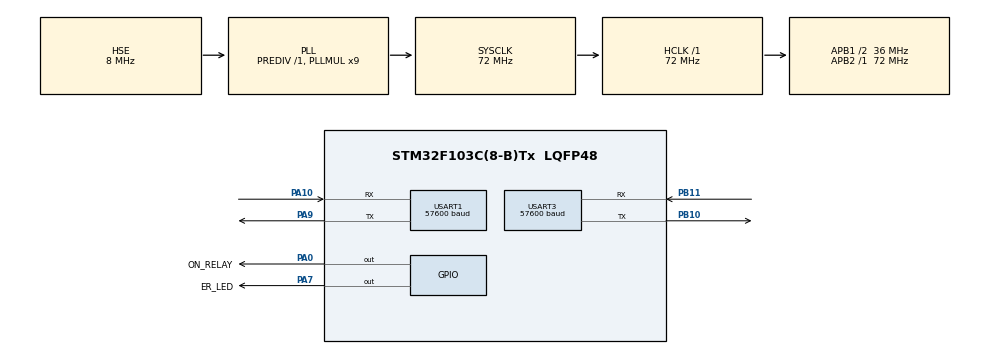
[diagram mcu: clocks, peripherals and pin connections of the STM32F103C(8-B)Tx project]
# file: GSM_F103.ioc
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Mcu.Family=STM32F1
Mcu.Name=STM32F103C(8-B)Tx
Mcu.Package=LQFP48
NVIC.PriorityGroup=NVIC_PRIORITYGROUP_4
NVIC.TIM4_IRQn=true\:7\:0\:true\:false\:true\:true\:true
NVIC.USART1_IRQn=true\:5\:0\:true\:false\:true\:true\:true
NVIC.USART3_IRQn=true\:6\:0\:true\:false\:true\:true\:true
PA0-WKUP.GPIO_Label=ON_RELAY
PA0-WKUP.Signal=GPIO_Output
PA10.Mode=Asynchronous
PA10.Signal=USART1_RX
PA13.Mode=Serial_Wire
PA13.Signal=SYS_JTMS-SWDIO
PA14.Mode=Serial_Wire
PA14.Signal=SYS_JTCK-SWCLK
PA7.GPIO_Label=ER_LED
PA7.Signal=GPIO_Output
PA9.Mode=Asynchronous
PA9.Signal=USART1_TX
PB10.Mode=Asynchronous
PB10.Signal=USART3_TX
PB11.Mode=Asynchronous
PB11.Signal=USART3_RX
PD0-OSC_IN.Mode=HSE-External-Oscillator
PD0-OSC_IN.Signal=RCC_OSC_IN
PD1-OSC_OUT.Mode=HSE-External-Oscillator
PD1-OSC_OUT.Signal=RCC_OSC_OUT
ProjectManager.HeapSize=0x200
ProjectManager.StackSize=0x400
ProjectManager.TargetToolchain=STM32CubeIDE
RCC.AHBFreq_Value=72000000
RCC.APB1CLKDivider=RCC_HCLK_DIV2
RCC.APB1Freq_Value=36000000
RCC.APB1TimFreq_Value=72000000
RCC.APB2Freq_Value=72000000
RCC.APB2TimFreq_Value=72000000
RCC.HCLKFreq_Value=72000000
RCC.PLLMUL=RCC_PLL_MUL9
RCC.PLLSourceVirtual=RCC_PLLSOURCE_HSE
RCC.SYSCLKFreq_VALUE=72000000
RCC.SYSCLKSource=RCC_SYSCLKSOURCE_PLLCLK
RCC.USBFreq_Value=72000000
TIM4.Period=9999
TIM4.Prescaler=7199
USART1.BaudRate=57600
USART1.VirtualMode=VM_ASYNC
USART3.BaudRate=57600
USART3.VirtualMode=VM_ASYNC
VP_TIM4_VS_ClockSourceINT.Mode=Internal
board=custom

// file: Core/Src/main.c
/* USER CODE BEGIN Header */
/**
  ******************************************************************************
  * @file           : main.c
  * @brief          : Main program body
  ******************************************************************************
  * @attention
  *
  * <h2><center>&copy; Copyright (c) 2022 STMicroelectronics.
  * All rights reserved.</center></h2>
  *
  * This software component is licensed by ST under BSD 3-Clause license,
  * the "License"; You may not use this file except in compliance with the
  * License. You may obtain a copy of the License at:
  *                        opensource.org/licenses/BSD-3-Clause
  *
  ******************************************************************************
  */
/* USER CODE END Header */

#include "main.h"

/* USER CODE BEGIN Includes */
#include "usart_ring.h"
#include "gsm.h"
#include <stdio.h>
/* USER CODE END Includes */

TIM_HandleTypeDef htim4;

UART_HandleTypeDef huart1;
UART_HandleTypeDef huart3;

/* USER CODE BEGIN PV */
volatile uint8_t flag = 0;
/* USER CODE END PV */

void SystemClock_Config(void);
static void MX_GPIO_Init(void);
static void MX_USART1_UART_Init(void);
static void MX_TIM4_Init(void);
static void MX_USART3_UART_Init(void);
/* USER CODE BEGIN PFP */
int _write(int file, char *ptr, int len) {
	int i;
	HAL_UART_Transmit(&huart3, (uint8_t*) ptr, len, 50);
	for (i = 0; i < len; i++) {
		ITM_SendChar(*ptr++);
	}
	return len;
}
/* USER CODE END PFP */

/* USER CODE BEGIN 0 */
/////////////////// удалить символы \r и \n из строки //////////////////////
static void clear_string(char *src)
{
	char *dst = NULL;
	if(!src) return;
	uint8_t i = 0;

	for(dst = src; *src; src++)
	{
		if(i < 2 && (*src == '\n' || *src == '\r'))
		{
			i++;
			continue;
		}
		else if(*src == '\n' || *src == '\r') *src = ' ';

		*dst++ = *src;
	}

	*dst = 0;
}

///////////////////// колбек таймера //////////////////////
void HAL_TIM_PeriodElapsedCallback(TIM_HandleTypeDef *htim)
{
	if(htim->Instance == TIM4)
	{
		flag = 1;
	}
}

//////////////// проверка и установка скорости 19200, нужна один раз /////////////////
void chek_speed(void)
{
  for(uint8_t i = 0; i < 7; i++)
  {
	  uint32_t sp = 0;

	  if(i == 0) sp = 2400;
	  else if(i == 1) sp = 4800;
	  else if(i == 2) sp = 9600;
	  else if(i == 3) sp = 19200;
	  else if(i == 4) sp = 38400;
	  else if(i == 5) sp = 57600;
	  else if(i == 6) sp = 115200;

	  huart1.Instance = USART1;
	  huart1.Init.BaudRate = sp;
	  huart1.Init.WordLength = UART_WORDLENGTH_8B;
	  huart1.Init.StopBits = UART_STOPBITS_1;
	  huart1.Init.Parity = UART_PARITY_NONE;
	  huart1.Init.Mode = UART_MODE_TX_RX;
	  huart1.Init.HwFlowCtl = UART_HWCONTROL_NONE;
	  huart1.Init.OverSampling = UART_OVERSAMPLING_16;

	  if (HAL_UART_Init(&huart1) != HAL_OK)
	  {
		  Error_Handler();
	  }

	  char str[16] = {0,};
	  HAL_UART_Transmit(GSM, (uint8_t*)"AT\r\n", strlen("AT\r\n"), 1000);
	  HAL_Delay(300);

	  if(gsm_available()) //если модуль что-то прислал
	  {
		  uint16_t i = 0;

		  while(gsm_available())
		  {
			  str[i++] = gsm_read();
			  if(i > 15) break;
			  HAL_Delay(1);
		  }

		  if(strstr(str, "OK") != NULL)
		  {
			  char buf[64] = {0,};
			  snprintf(buf, 64, "Uart modem was %lu, switched to 57600\n", huart1.Init.BaudRate);
			  HAL_UART_Transmit(DEBUG, (uint8_t*)buf, strlen(buf), 100);
			  HAL_UART_Transmit(GSM, (uint8_t*)"AT+IPR=57600\r\n", strlen("AT+IPR=57600\r\n"), 1000);
			  HAL_Delay(250);
			  MX_USART1_UART_Init();
			  break;
		  }
	  }
  }
}
/* USER CODE END 0 */

int main(void)
{

  /* MCU Configuration--------------------------------------------------------*/

  /* Reset of all peripherals, Initializes the Flash interface and the Systick. */
  HAL_Init();

  /* Configure the system clock */
  SystemClock_Config();

  /* Initialize all configured peripherals */
  MX_GPIO_Init();
  MX_USART1_UART_Init();
  MX_TIM4_Init();
  MX_USART3_UART_Init();
  /* USER CODE BEGIN 2 */
  //HAL_Delay(1000);
    //HAL_GPIO_WritePin(ON_RELAY_GPIO_Port, ON_RELAY_Pin, GPIO_PIN_SET);
    HAL_Delay(5000); // задержка чтоб модем успел раздуплиться, если его включение происходит вместе с включением МК

    __HAL_UART_ENABLE_IT(GSM, UART_IT_RXNE);
    __HAL_UART_ENABLE_IT(DEBUG, UART_IT_RXNE);

    chek_speed(); // проверка и установка скорости 19200, нужна один раз

    ////////////////// настройка модема ///////////////////
    set_comand(ATCPAS);  // проверка статуса модема
    set_comand(ATCREG);  // проверка регистрации в сети - должен вернуть  +CREG: 0,1
    set_comand(ATCLIP1); // включить АОН
    set_comand(ATE);     // отключить «эхо»
    set_comand(ATS);     // поднимать трубку только "вручную"
    set_comand(ATDDET);  // включить DTMF
    //set_comand(ATCCLKK); // установить дату/время

    /////////////////// настройки для работы с sms ////////////////
    set_comand(ATCMGF);    // устанавливает текстовый режим смс-сообщения
    set_comand(ATCPBS);    // открывает доступ к данным телефонной книги SIM-карты
    set_comand(ATCSCS);    // кодировка текста - GSM
    set_comand(ATCNMI);    // настройка вывода смс в консоль

    //////////////////// различная инфа /////////////////////
    set_comand(ATIPR);       // скорость usart'a модема
    set_comand(ATI);         // название и версия модуля
    set_comand(ATCGSN);      // считывание IMEI из EEPROM
    set_comand(ATCSPN);      // оператор сети

    HAL_TIM_Base_Start_IT(&htim4);

    char buf[GSM_RX_BUFFER_SIZE] = {0,};
    char str[GSM_RX_BUFFER_SIZE] = {0,};
  /* USER CODE END 2 */

  /* Infinite loop */
  /* USER CODE BEGIN WHILE */

  while (1)
  {
  	if(flag == 1)
  	{
  		flag = 0;
  		//get_date_time(); // будет раз в секунду выводить время
  	}

  	if(gsm_available()) //если модуль что-то прислал
  	{
  		uint16_t i = 0;
  		uint8_t fdbg = 1;
  		memset(buf, 0, GSM_RX_BUFFER_SIZE);
  		HAL_Delay(50);

  		while(gsm_available())
  		{
  			buf[i++] = gsm_read();
  			if(i > GSM_RX_BUFFER_SIZE - 1) break;
  			HAL_Delay(1);
  		}

  		clear_string(buf); // очищаем строку от символов \r и \n

  		/////////////////// НАЧИНАЕМ РАСПОЗНАВАТЬ ЧТО ПРИСЛАЛ МОДУЛЬ /////////////////////
  		if(strstr(buf, "RING") != NULL) // ЕСЛИ ЭТО ЗВОНОК
  		{
  			//if(strstr(buf, "9834567891") != NULL) // если звонит нужный номер
  			if(strstr(buf, "358XXXXXXXXX") != NULL) // если звонит нужный номер
  			{
  				// что-то делаем
  				HAL_UART_Transmit(DEBUG, (uint8_t*)"My number\n", strlen("My number\n"), 1000);
  				incoming_call(); // можно принять звонок
  				//disable_connection(); // сброс соединения
  			}
  			else
  			{
  				HAL_UART_Transmit(DEBUG, (uint8_t*)"Unknow number\n", strlen("Unknow number\n"), 1000);
  				disable_connection(); // сброс соединения
  			}
  		}
  		else if(strstr(buf, "+CMT:") != NULL) // ЕСЛИ ЭТО SMS
  		{
  			//if(strstr(buf, "9815555596") != NULL) // проверяем от кого смс
  			if(strstr(buf, "358XXXXXXXXX") != NULL) // проверяем от кого смс
  			{
  				HAL_UART_Transmit(DEBUG, (uint8_t*)"Sms my number\n", strlen("Sms my number\n"), 1000);

  				// что-то делаем или ищем какую-то строку, которую мы послали в смс, например слово "Hello"
  				if(strstr(buf, "Zerg") != NULL)
  				{
  					HAL_UART_Transmit(DEBUG, (uint8_t*)"Reciv Zerg\n", strlen("Reciv Zerg\n"), 1000);
  					// что-то делаем
  				}
  				else if(strstr(buf, "Call") != NULL) // если прилетело слово "Call" то звоним
  				{
  					call(); // номер указать в файле gsm.c
  				}
  				else if(strstr(buf, "Money") != NULL) // если отпрвить sms со словом "Money", то в ответ придёт смс с балансом (деньги) на модеме
  				{
  					balance(); // посылаем команду узнать баланс (мтс)
  				}
  			}
  			else
  			{
  				HAL_UART_Transmit(DEBUG, (uint8_t*)"Unknow number sms\n", strlen("Unknow number sms\n"), 1000);
  			}
  		}
  		else if(strstr(buf, "+CUSD") != NULL)  // ЕСЛИ ЭТО СТРОКА С БАЛАНСОМ
  		{
  			char *p = NULL;

  			if((p = strstr(buf, "Balance")) != NULL) // ищем слово "Balance"
  			{
  				// отправляем смс с балансом на указанный телефон, укажите нужный номер и раскомментируйте этот блок
  				/*snprintf(str, GSM_RX_BUFFER_SIZE, "AT+CMGS=\"+79839655557\"\r\n"); // номер
  				HAL_UART_Transmit(GSM, (uint8_t*)str, strlen(str), 1000);
  				HAL_Delay(100);
  				snprintf(str, GSM_RX_BUFFER_SIZE, "%s", p); // текст смс
  				HAL_UART_Transmit(GSM, (uint8_t*)str, strlen(str), 1000);
  				p = 0;
  				HAL_Delay(100);
  				snprintf(str, GSM_RX_BUFFER_SIZE, "%c", (char)26); // символ ctrl-z
  				HAL_UART_Transmit(GSM, (uint8_t*)str, strlen(str), 1000);*/
  				// блок закомментирован чтоб модуль не слал смски пока тестируете
  			}
  		}
  		else if(strstr(buf, "+DTMF") != NULL)  //ЕСЛИ ЭТО DTMF СИГНАЛ
  		{
  			if(strstr(buf, "0") != NULL) // если пришёл сигнал кнопки 0
  			{
  				// что-то делаем
  				HAL_UART_Transmit(DEBUG, (uint8_t*)"DTMF Button 0\n", strlen("DTMF Button 0\n"), 1000);
  			}
  			else if(strstr(buf, "1") != NULL) // если пришёл сигнал кнопки 1
  			{
  				// что-то делаем
  				HAL_UART_Transmit(DEBUG, (uint8_t*)"DTMF Button 1\n", strlen("DTMF Button 1\n"), 1000);
  			}
  			// и т.д.

  			disable_connection(); // разрываем соединение, или не разрываем (в зависимости от того, что вам нужно)
  		}
  		else if(strstr(buf, "+CCLK") != NULL)  // ЕСЛИ ЭТО ДАТА/ВРЕМЯ
  		{
  			replac_string(buf);
  			char res[32] = {0,};

  			for(uint8_t i = 0; i < GSM_RX_BUFFER_SIZE; i++)
  			{
  				if(buf[i] == '"')
  				{
  					i++;
  					for(uint8_t j = 0; j < 20; i++, j++)
  					{
  						if(buf[i] == '+')
  						{
  							buf[i] = 0;
  							break;
  						}

  						if(buf[i] == ',') buf[i] = ' ';
  						res[j] = buf[i];
  					}

  					break;
  				}
  			}

  			snprintf(str, GSM_RX_BUFFER_SIZE, "DateTime %s\n", res);
  			HAL_UART_Transmit(DEBUG, (uint8_t*)str, strlen(str), 1000);
  			fdbg = 0;
  		}

  		if(fdbg)
  		{
  			snprintf(str, GSM_RX_BUFFER_SIZE, "%s\n", buf);
  			HAL_UART_Transmit(DEBUG, (uint8_t*)str, strlen(str), 1000);
  		}
  	}

  	////////////////////////////////////// DEBUG ////////////////////////////////////////
  	if(dbg_available()) //если послали в терминал какую-то команду, то она перенаправиться в модем
  	{
  		uint16_t i = 0;
  		memset(buf, 0, GSM_RX_BUFFER_SIZE);

  		while(dbg_available())
  		{
  			buf[i++] = dbg_read();
  			if(i > GSM_RX_BUFFER_SIZE - 1) break;
  			HAL_Delay(1);
  		}

  		clear_string(buf);
  		snprintf(str, GSM_RX_BUFFER_SIZE, "%s\r\n", buf);
  		HAL_UART_Transmit(GSM, (uint8_t*)str, strlen(str), 1000);
  	}

    /* USER CODE END WHILE */

  }
}

void SystemClock_Config(void)
{
  RCC_OscInitTypeDef RCC_OscInitStruct = {0};
  RCC_ClkInitTypeDef RCC_ClkInitStruct = {0};

  /** Initializes the CPU, AHB and APB busses clocks
  */
  RCC_OscInitStruct.OscillatorType = RCC_OSCILLATORTYPE_HSE;
  RCC_OscInitStruct.HSEState = RCC_HSE_ON;
  RCC_OscInitStruct.HSEPredivValue = RCC_HSE_PREDIV_DIV1;
  RCC_OscInitStruct.HSIState = RCC_HSI_ON;
  RCC_OscInitStruct.PLL.PLLState = RCC_PLL_ON;
  RCC_OscInitStruct.PLL.PLLSource = RCC_PLLSOURCE_HSE;
  RCC_OscInitStruct.PLL.PLLMUL = RCC_PLL_MUL9;
  if (HAL_RCC_OscConfig(&RCC_OscInitStruct) != HAL_OK)
  {
    Error_Handler();
  }
  /** Initializes the CPU, AHB and APB busses clocks
  */
  RCC_ClkInitStruct.ClockType = RCC_CLOCKTYPE_HCLK|RCC_CLOCKTYPE_SYSCLK
                              |RCC_CLOCKTYPE_PCLK1|RCC_CLOCKTYPE_PCLK2;
  RCC_ClkInitStruct.SYSCLKSource = RCC_SYSCLKSOURCE_PLLCLK;
  RCC_ClkInitStruct.AHBCLKDivider = RCC_SYSCLK_DIV1;
  RCC_ClkInitStruct.APB1CLKDivider = RCC_HCLK_DIV2;
  RCC_ClkInitStruct.APB2CLKDivider = RCC_HCLK_DIV1;

  if (HAL_RCC_ClockConfig(&RCC_ClkInitStruct, FLASH_LATENCY_2) != HAL_OK)
  {
    Error_Handler();
  }
}

static void MX_TIM4_Init(void)
{

  TIM_ClockConfigTypeDef sClockSourceConfig = {0};
  TIM_MasterConfigTypeDef sMasterConfig = {0};

  htim4.Instance = TIM4;
  htim4.Init.Prescaler = 7199;
  htim4.Init.CounterMode = TIM_COUNTERMODE_UP;
  htim4.Init.Period = 9999;
  htim4.Init.ClockDivision = TIM_CLOCKDIVISION_DIV1;
  htim4.Init.AutoReloadPreload = TIM_AUTORELOAD_PRELOAD_DISABLE;
  if (HAL_TIM_Base_Init(&htim4) != HAL_OK)
  {
    Error_Handler();
  }
  sClockSourceConfig.ClockSource = TIM_CLOCKSOURCE_INTERNAL;
  if (HAL_TIM_ConfigClockSource(&htim4, &sClockSourceConfig) != HAL_OK)
  {
    Error_Handler();
  }
  sMasterConfig.MasterOutputTrigger = TIM_TRGO_RESET;
  sMasterConfig.MasterSlaveMode = TIM_MASTERSLAVEMODE_DISABLE;
  if (HAL_TIMEx_MasterConfigSynchronization(&htim4, &sMasterConfig) != HAL_OK)
  {
    Error_Handler();
  }

}

static void MX_USART1_UART_Init(void)
{

  huart1.Instance = USART1;
  huart1.Init.BaudRate = 57600;
  huart1.Init.WordLength = UART_WORDLENGTH_8B;
  huart1.Init.StopBits = UART_STOPBITS_1;
  huart1.Init.Parity = UART_PARITY_NONE;
  huart1.Init.Mode = UART_MODE_TX_RX;
  huart1.Init.HwFlowCtl = UART_HWCONTROL_NONE;
  huart1.Init.OverSampling = UART_OVERSAMPLING_16;
  if (HAL_UART_Init(&huart1) != HAL_OK)
  {
    Error_Handler();
  }

}

static void MX_USART3_UART_Init(void)
{

  huart3.Instance = USART3;
  huart3.Init.BaudRate = 57600;
  huart3.Init.WordLength = UART_WORDLENGTH_8B;
  huart3.Init.StopBits = UART_STOPBITS_1;
  huart3.Init.Parity = UART_PARITY_NONE;
  huart3.Init.Mode = UART_MODE_TX_RX;
  huart3.Init.HwFlowCtl = UART_HWCONTROL_NONE;
  huart3.Init.OverSampling = UART_OVERSAMPLING_16;
  if (HAL_UART_Init(&huart3) != HAL_OK)
  {
    Error_Handler();
  }

}

static void MX_GPIO_Init(void)
{
  GPIO_InitTypeDef GPIO_InitStruct = {0};

  /* GPIO Ports Clock Enable */
  __HAL_RCC_GPIOD_CLK_ENABLE();
  __HAL_RCC_GPIOA_CLK_ENABLE();
  __HAL_RCC_GPIOB_CLK_ENABLE();

  /*Configure GPIO pin Output Level */
  HAL_GPIO_WritePin(GPIOA, ON_RELAY_Pin|ER_LED_Pin, GPIO_PIN_RESET);

  /*Configure GPIO pins : ON_RELAY_Pin ER_LED_Pin */
  GPIO_InitStruct.Pin = ON_RELAY_Pin|ER_LED_Pin;
  GPIO_InitStruct.Mode = GPIO_MODE_OUTPUT_PP;
  GPIO_InitStruct.Pull = GPIO_NOPULL;
  GPIO_InitStruct.Speed = GPIO_SPEED_FREQ_LOW;
  HAL_GPIO_Init(GPIOA, &GPIO_InitStruct);

}

void Error_Handler(void)
{
}

/************************ (C) COPYRIGHT STMicroelectronics *****END OF FILE****/
